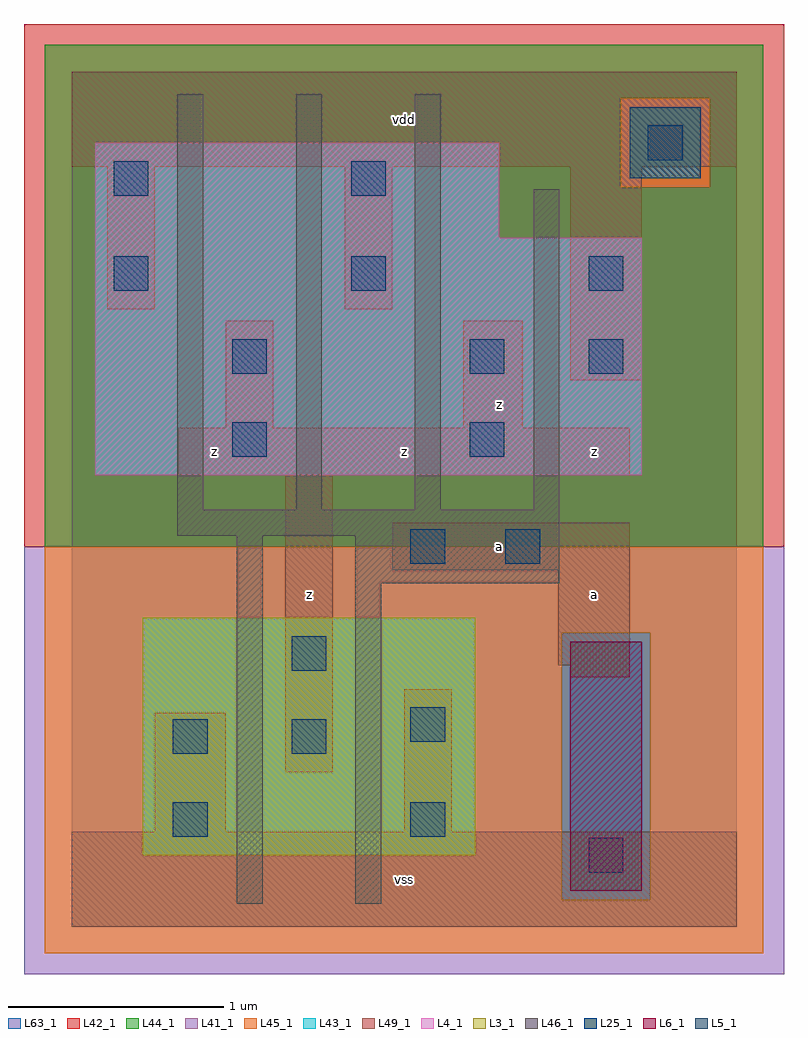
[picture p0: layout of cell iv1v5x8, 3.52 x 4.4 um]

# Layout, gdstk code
import gdstk
lib = gdstk.Library(unit=1e-6, precision=1e-09)
def R(c, l, rs):  # rectangles x0, y0, x1, y1
    for r in rs: c.add(gdstk.rectangle(r[:2], r[2:], *l))
def A(c, l, x, y, w, h, nx, ny, dx, dy):  # array of equal rectangles
    R(c, l, [(x+i*dx, y+j*dy, x+i*dx+w, y+j*dy+h) for i in range(nx) for j in range(ny)])
L3_1 = (3, 1)
L4_1 = (4, 1)
L5_1 = (5, 1)
L6_1 = (6, 1)
L25_1 = (25, 1)
L41_1 = (41, 1)
L42_1 = (42, 1)
L43_1 = (43, 1)
L44_1 = (44, 1)
L45_1 = (45, 1)
L46_1 = (46, 1)
L49_1 = (49, 1)
L63_1 = (63, 1)

iv1v5x8 = lib.new_cell('iv1v5x8')
R(iv1v5x8, L3_1, [(0.33,0.33,1.87,1.43)])
R(iv1v5x8, L4_1, [(0.11,2.09,2.64,3.19), (0.11,3.19,1.98,3.63)])
R(iv1v5x8, L5_1, [(2.585,3.465,2.915,3.795)])
R(iv1v5x8, L6_1, [(2.31,0.165,2.64,1.32)])
A(iv1v5x8, L25_1, 0.195, 2.945, 0.16, 0.16, 3, 1, 1.1, 0)
R(iv1v5x8, L25_1, [(2.395,0.25,2.555,0.41), (0.47,0.415,0.63,0.575), (1.57,0.415,1.73,0.575), (0.47,0.8,0.63,0.96), (1.02,0.8,1.18,0.96), (1.57,0.855,1.73,1.015), (1.02,1.185,1.18,1.345), (1.57,1.68,1.73,1.84), (2.01,1.68,2.17,1.84), (0.745,2.175,0.905,2.335), (1.845,2.175,2.005,2.335), (0.745,2.56,0.905,2.72), (1.845,2.56,2.005,2.72), (2.395,2.56,2.555,2.72), (0.195,3.385,0.355,3.545), (1.295,3.385,1.455,3.545), (2.67,3.55,2.83,3.71)])
R(iv1v5x8, L41_1, [(-0.22,-0.22,3.3,1.76)])
R(iv1v5x8, L42_1, [(-0.22,1.76,3.3,4.18)])
R(iv1v5x8, L43_1, [(2.31,0.165,2.64,1.32), (0.33,0.33,1.87,1.43), (0.11,2.09,2.64,3.19), (0.11,3.19,1.98,3.63), (2.585,3.465,2.915,3.795)])
R(iv1v5x8, L44_1, [(2.27,0.125,2.68,1.36), (-0.125,1.76,3.205,3.425), (-0.125,3.425,2.545,3.835), (2.955,3.425,3.205,3.835), (-0.125,3.835,3.205,4.085)])
R(iv1v5x8, L45_1, [(-0.125,-0.125,3.205,0.125), (-0.125,0.125,2.27,1.36), (2.68,0.125,3.205,1.36), (-0.125,1.36,3.205,1.76), (2.545,3.425,2.955,3.835)])
A(iv1v5x8, L46_1, 0.49, 1.93, 0.12, 1.925, 3, 1, 0.55, 0)
R(iv1v5x8, L46_1, [(0.765,0.105,0.885,1.81), (1.315,0.105,1.435,1.59), (1.315,1.59,2.26,1.81), (0.49,1.81,2.26,1.93), (2.14,1.93,2.26,3.415)])
R(iv1v5x8, L49_1, [(0,0,3.08,0.44), (0.385,0.44,0.715,0.99), (1.54,0.44,1.76,1.1), (0.99,0.715,1.21,2.09), (2.31,1.155,2.585,1.21), (2.255,1.21,2.585,1.65), (1.485,1.65,2.585,1.87), (0.495,2.09,2.585,2.31), (0.715,2.31,0.935,2.805), (1.815,2.31,2.09,2.805), (2.31,2.53,2.64,3.52), (0.165,2.86,0.385,3.52), (1.265,2.86,1.485,3.52), (0,3.52,3.08,3.96)])
R(iv1v5x8, L63_1, [(0,0,3.08,3.96)])
iv1v5x8.add(gdstk.Label('z', (1.1,1.54), layer=49, texttype=1))
iv1v5x8.add(gdstk.Label('z', (0.66,2.2), layer=49, texttype=1))
iv1v5x8.add(gdstk.Label('vss', (1.54,0.22), layer=49, texttype=1))
iv1v5x8.add(gdstk.Label('a', (1.98,1.76), layer=49, texttype=1))
iv1v5x8.add(gdstk.Label('z', (1.54,2.2), layer=49, texttype=1))
iv1v5x8.add(gdstk.Label('z', (1.98,2.42), layer=49, texttype=1))
iv1v5x8.add(gdstk.Label('vdd', (1.54,3.74), layer=49, texttype=1))
iv1v5x8.add(gdstk.Label('a', (2.42,1.54), layer=49, texttype=1))
iv1v5x8.add(gdstk.Label('z', (2.42,2.2), layer=49, texttype=1))

lib.write_gds('iv1v5x8.gds')
